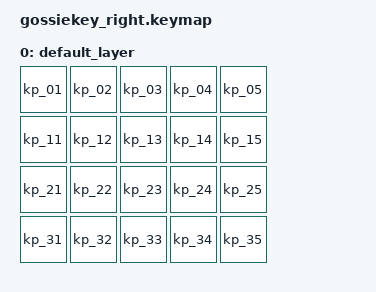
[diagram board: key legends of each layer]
/ {
  keymap {
    compatible = "zmk,keymap";

    default_layer {
      bindings = <
        &kp kp_01  &kp kp_02  &kp kp_03  &kp kp_04  &kp kp_05
        &kp kp_11  &kp kp_12  &kp kp_13  &kp kp_14  &kp kp_15
        &kp kp_21  &kp kp_22  &kp kp_23  &kp kp_24  &kp kp_25
        &kp kp_31  &kp kp_32  &kp kp_33  &kp kp_34  &kp kp_35
      >;
    };
  };
};
